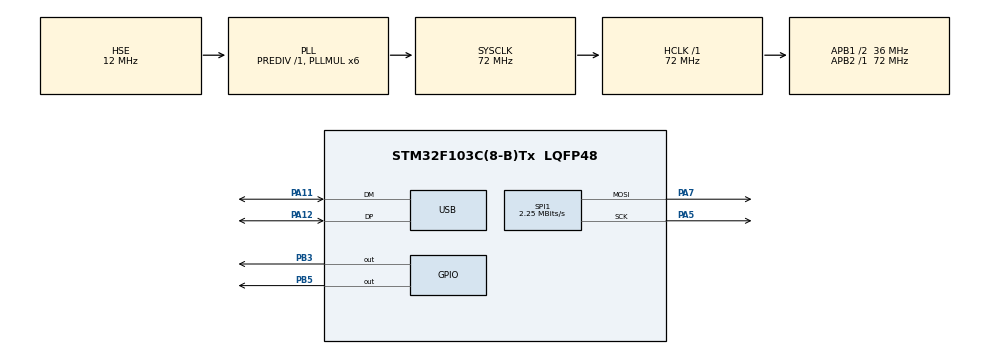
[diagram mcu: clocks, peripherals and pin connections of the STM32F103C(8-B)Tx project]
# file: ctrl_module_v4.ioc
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Mcu.Family=STM32F1
Mcu.Name=STM32F103C(8-B)Tx
Mcu.Package=LQFP48
NVIC.PriorityGroup=NVIC_PRIORITYGROUP_4
NVIC.USB_LP_CAN1_RX0_IRQn=true\:0\:0\:false\:false\:true\:false\:true\:true
PA11.Mode=Device
PA11.Signal=USB_DM
PA12.Mode=Device
PA12.Signal=USB_DP
PA13.Mode=Serial_Wire
PA13.Signal=SYS_JTMS-SWDIO
PA14.Mode=Serial_Wire
PA14.Signal=SYS_JTCK-SWCLK
PA5.Mode=TX_Only_Simplex_Unidirect_Master
PA5.Signal=SPI1_SCK
PA7.Mode=TX_Only_Simplex_Unidirect_Master
PA7.Signal=SPI1_MOSI
PB3.Signal=GPIO_Output
PB5.Signal=GPIO_Output
PD0-OSC_IN.Mode=HSE-External-Oscillator
PD0-OSC_IN.Signal=RCC_OSC_IN
PD1-OSC_OUT.Mode=HSE-External-Oscillator
PD1-OSC_OUT.Signal=RCC_OSC_OUT
ProjectManager.HeapSize=0x200
ProjectManager.StackSize=0x400
ProjectManager.TargetToolchain=CMake
RCC.AHBFreq_Value=72000000
RCC.APB1CLKDivider=RCC_HCLK_DIV2
RCC.APB1Freq_Value=36000000
RCC.APB1TimFreq_Value=72000000
RCC.APB2Freq_Value=72000000
RCC.APB2TimFreq_Value=72000000
RCC.HCLKFreq_Value=72000000
RCC.HSE_VALUE=12000000
RCC.PLLMUL=RCC_PLL_MUL6
RCC.SYSCLKFreq_VALUE=72000000
RCC.SYSCLKSource=RCC_SYSCLKSOURCE_PLLCLK
RCC.USBFreq_Value=48000000
RCC.USBPrescaler=RCC_USBCLKSOURCE_PLL_DIV1_5
SPI1.BaudRatePrescaler=SPI_BAUDRATEPRESCALER_32
SPI1.CalculateBaudRate=2.25 MBits/s
SPI1.DataSize=SPI_DATASIZE_16BIT
SPI1.Direction=SPI_DIRECTION_2LINES
SPI1.Mode=SPI_MODE_MASTER
SPI1.VirtualType=VM_MASTER
USB_DEVICE.CLASS_NAME_FS=CDC
USB_DEVICE.VirtualMode=Cdc
USB_DEVICE.VirtualModeFS=Cdc_FS
VP_USB_DEVICE_VS_USB_DEVICE_CDC_FS.Mode=CDC_FS
board=custom

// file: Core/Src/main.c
/* USER CODE BEGIN Header */
/**
  ******************************************************************************
  * @file           : main.c
  * @brief          : Main program body
  ******************************************************************************
  * @attention
  *
  * Copyright (c) 2026 STMicroelectronics.
  * All rights reserved.
  *
  * This software is licensed under terms that can be found in the LICENSE file
  * in the root directory of this software component.
  * If no LICENSE file comes with this software, it is provided AS-IS.
  *
  ******************************************************************************
  */
/* USER CODE END Header */
#include "main.h"
#include "usb_device.h"

/* USER CODE BEGIN Includes */
#include "usbd_cdc_if.h"
/* USER CODE END Includes */

SPI_HandleTypeDef hspi1;

/* USER CODE BEGIN PV */
// 用于 SPI 传输的缓冲区
uint16_t spi_buffer[6]; // 96位 = 6个16位数据
// 外部变量声明
extern uint8_t received_data[12];
extern uint8_t data_received;
/* USER CODE END PV */

void SystemClock_Config(void);
static void MX_GPIO_Init(void);
static void MX_SPI1_Init(void);
/* USER CODE BEGIN PFP */
// 字节位反转函数 - 将二进制位顺序颠倒
// 例如：输入 0x12 (二进制 00010010) → 输出 0x48 (二进制 01001000)
static uint8_t reverse_byte(uint8_t byte) {
    uint8_t result = 0;
    for (int i = 0; i < 8; i++) {
        // 从最低位开始，依次取每一位并放到结果的最高位
        result |= ((byte >> i) & 0x01) << (7 - i);
    }
    return result;
}

// 按四位反序函数
static uint8_t reverse_nibble(uint8_t byte) {
    return ((byte & 0x0F) << 4) | ((byte & 0xF0) >> 4);
}

// 调试函数：打印字节的二进制表示
static void print_byte_binary(uint8_t byte) {
    uint8_t debug_buf[20];
    int len = sprintf((char*)debug_buf, "0b");
    for (int i = 7; i >= 0; i--) {
        len += sprintf((char*)debug_buf + len, "%d", (byte >> i) & 0x01);
    }
    len += sprintf((char*)debug_buf + len, "\r\n");
    CDC_Transmit_FS(debug_buf, len);
}
/* USER CODE END PFP */

int main(void)
{

  /* MCU Configuration--------------------------------------------------------*/

  /* Reset of all peripherals, Initializes the Flash interface and the Systick. */
  HAL_Init();

  /* Configure the system clock */
  SystemClock_Config();

  /* Initialize all configured peripherals */
  MX_GPIO_Init();
  MX_SPI1_Init();
  MX_USB_DEVICE_Init();
  /* USER CODE BEGIN 2 */
  // 使能 595 输出（PB3 低电平）
  HAL_GPIO_WritePin(GPIOB, GPIO_PIN_3, GPIO_PIN_RESET);
  // 初始化 STCP 为低电平
  HAL_GPIO_WritePin(GPIOB, GPIO_PIN_5, GPIO_PIN_RESET);
  /* USER CODE END 2 */

  /* Infinite loop */
  while (1)
  {

    /* USER CODE BEGIN 3 */
    // 检查是否有数据接收到
    if (data_received)
    {
      // 发送接收到的数据以供调试
      uint8_t debug_buf[100];
      int len = sprintf((char*)debug_buf, "Received: ");
      for (int i = 0; i < 12; i++) {
        len += sprintf((char*)debug_buf + len, "%02X ", received_data[i]);
      }
      len += sprintf((char*)debug_buf + len, "\r\n");
      CDC_Transmit_FS(debug_buf, len);

      // 准备 SPI 传输数据

      if(12 == 12) {
          // 将12字节(96位)完全位反转后输出到6个16位字(MSB first)
          for (int i = 0; i < 6; i++) {
              spi_buffer[i] = 0;
          }
          for (int i = 0; i < 12; i++) {
              for (int b = 0; b < 8; b++) {
                  if (received_data[i] & (0x80 >> b)) {
                      int pos = 95 - (i * 8 + b);
                      spi_buffer[pos / 16] |= (0x8000 >> (pos % 16));
                  }
              }
          }

          // 发送 SPI 要发送的数据以供调试
          len = sprintf((char*)debug_buf, "SPI Send: ");
          for (int i = 0; i < 6; i++) {
            len += sprintf((char*)debug_buf + len, "%04X ", spi_buffer[i]);
          }
          len += sprintf((char*)debug_buf + len, "\r\n");
          CDC_Transmit_FS(debug_buf, len);

          // 通过SPI依次发送6个16位数据
          HAL_SPI_Transmit(&hspi1, (uint8_t*)spi_buffer, 6, 100);  // 传输6个16位数据项
          HAL_GPIO_WritePin(GPIOB, GPIO_PIN_5, GPIO_PIN_SET); /* PB5拉高 */
          HAL_Delay(1); /* 延时保持脉冲宽度 */
          HAL_GPIO_WritePin(GPIOB, GPIO_PIN_5, GPIO_PIN_RESET); /* PB5拉低 */

          // 发送操作完成信息
          CDC_Transmit_FS((uint8_t*)"Operation completed\r\n", 20);
      }
      // 数据处理后状态输出
      data_received = 0;
    }

    HAL_Delay(1); // 避免死循环占满 CPU
  }
  /* USER CODE END 3 */
}

void SystemClock_Config(void)
{
  RCC_OscInitTypeDef RCC_OscInitStruct = {0};
  RCC_ClkInitTypeDef RCC_ClkInitStruct = {0};
  RCC_PeriphCLKInitTypeDef PeriphClkInit = {0};

  /** Initializes the RCC Oscillators according to the specified parameters
  * in the RCC_OscInitTypeDef structure.
  */
  RCC_OscInitStruct.OscillatorType = RCC_OSCILLATORTYPE_HSE;
  RCC_OscInitStruct.HSEState = RCC_HSE_ON;
  RCC_OscInitStruct.HSEPredivValue = RCC_HSE_PREDIV_DIV1;
  RCC_OscInitStruct.HSIState = RCC_HSI_ON;
  RCC_OscInitStruct.PLL.PLLState = RCC_PLL_ON;
  RCC_OscInitStruct.PLL.PLLSource = RCC_PLLSOURCE_HSE;
  RCC_OscInitStruct.PLL.PLLMUL = RCC_PLL_MUL6;
  if (HAL_RCC_OscConfig(&RCC_OscInitStruct) != HAL_OK)
  {
    Error_Handler();
  }

  /** Initializes the CPU, AHB and APB buses clocks
  */
  RCC_ClkInitStruct.ClockType = RCC_CLOCKTYPE_HCLK|RCC_CLOCKTYPE_SYSCLK
                              |RCC_CLOCKTYPE_PCLK1|RCC_CLOCKTYPE_PCLK2;
  RCC_ClkInitStruct.SYSCLKSource = RCC_SYSCLKSOURCE_PLLCLK;
  RCC_ClkInitStruct.AHBCLKDivider = RCC_SYSCLK_DIV1;
  RCC_ClkInitStruct.APB1CLKDivider = RCC_HCLK_DIV2;
  RCC_ClkInitStruct.APB2CLKDivider = RCC_HCLK_DIV1;

  if (HAL_RCC_ClockConfig(&RCC_ClkInitStruct, FLASH_LATENCY_2) != HAL_OK)
  {
    Error_Handler();
  }
  PeriphClkInit.PeriphClockSelection = RCC_PERIPHCLK_USB;
  PeriphClkInit.UsbClockSelection = RCC_USBCLKSOURCE_PLL_DIV1_5;
  if (HAL_RCCEx_PeriphCLKConfig(&PeriphClkInit) != HAL_OK)
  {
    Error_Handler();
  }
}

static void MX_SPI1_Init(void)
{

  /* SPI1 parameter configuration*/
  hspi1.Instance = SPI1;
  hspi1.Init.Mode = SPI_MODE_MASTER;
  hspi1.Init.Direction = SPI_DIRECTION_2LINES;
  hspi1.Init.DataSize = SPI_DATASIZE_16BIT;
  hspi1.Init.CLKPolarity = SPI_POLARITY_LOW;
  hspi1.Init.CLKPhase = SPI_PHASE_1EDGE;
  hspi1.Init.NSS = SPI_NSS_SOFT;
  hspi1.Init.BaudRatePrescaler = SPI_BAUDRATEPRESCALER_32;
  hspi1.Init.FirstBit = SPI_FIRSTBIT_MSB;
  hspi1.Init.TIMode = SPI_TIMODE_DISABLE;
  hspi1.Init.CRCCalculation = SPI_CRCCALCULATION_DISABLE;
  hspi1.Init.CRCPolynomial = 10;
  if (HAL_SPI_Init(&hspi1) != HAL_OK)
  {
    Error_Handler();
  }

}

static void MX_GPIO_Init(void)
{
  GPIO_InitTypeDef GPIO_InitStruct = {0};

  /* GPIO Ports Clock Enable */
  __HAL_RCC_GPIOD_CLK_ENABLE();
  __HAL_RCC_GPIOA_CLK_ENABLE();
  __HAL_RCC_GPIOB_CLK_ENABLE();

  /*Configure GPIO pin Output Level */
  HAL_GPIO_WritePin(GPIOB, GPIO_PIN_3|GPIO_PIN_5, GPIO_PIN_RESET);

  /*Configure GPIO pins : PB3 PB5 */
  GPIO_InitStruct.Pin = GPIO_PIN_3|GPIO_PIN_5;
  GPIO_InitStruct.Mode = GPIO_MODE_OUTPUT_PP;
  GPIO_InitStruct.Pull = GPIO_NOPULL;
  GPIO_InitStruct.Speed = GPIO_SPEED_FREQ_LOW;
  HAL_GPIO_Init(GPIOB, &GPIO_InitStruct);

}

void Error_Handler(void)
{
  __disable_irq();
  while (1)
  {
  }
}
